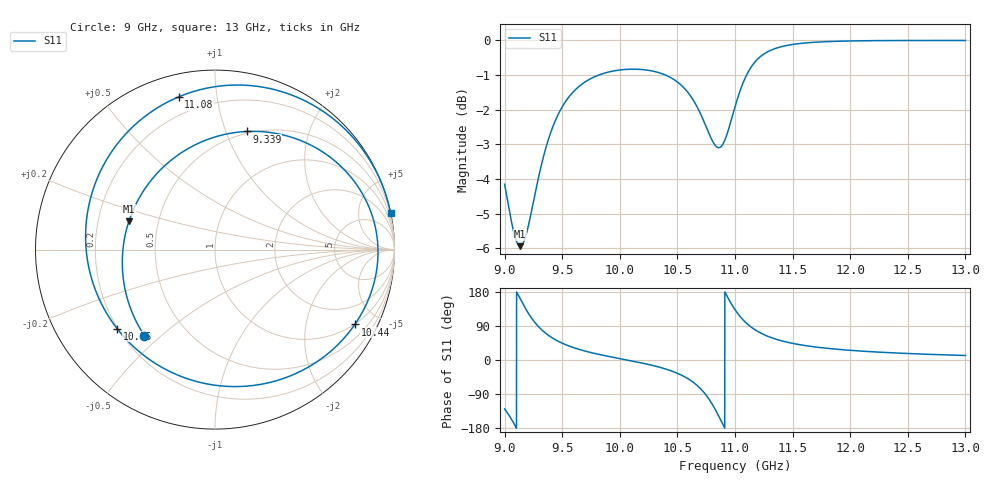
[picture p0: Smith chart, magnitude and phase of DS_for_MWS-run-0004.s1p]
! TOUCHSTONE file generated by CST DESIGN STUDIO
! Date and time: Tue Feb  4 14:07:46 2025
! Project name: C:\Work\MatlabApps\UnitCellOptimizationMatlab\CST\unitcell.cst
! Tree item: Tasks\Sweep1\SPara1\S-Parameters
! Header version: 2024
! Port assignment regex: !\s*Touchstone port\s*([0-9]+)\s*=\s*(CST MWS port|CST DES external port|CST DES block port)\s*(.+)\s* \(\"(.*)\"\)(\s*mode\s*([0-9]+))?.*
! Touchstone port assignment:
! Touchstone port 1 = CST DES external port 1 ("")
# GHz S MA R 50
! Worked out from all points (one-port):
!   4001 points, 9 GHz to 13 GHz, reference 50 ohm
!   lowest |S11| = -5.9 dB at 9.135 GHz (marker M1), VSWR 3.04, Z = 16.8 + j7.13 ohm
!   |S11| at or under -10 dB: nowhere
!   S11 on the Smith chart (normalised r, x): 9 GHz: 0.28, -0.44; 9.339 GHz: 0.48, +1.18; 10.44 GHz: 0.98, -3.75; 10.85 GHz: 0.20, -0.34; 11.08 GHz: 0.11, +0.78; 13 GHz: 0.02, +9.59
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9  0.6202 -129.3
9.074  0.5337 -163.8
9.135  0.505 161.8
9.235  0.5687 110.2
9.339  0.6814 75.0
9.5  0.8019 44.3
9.708  0.873 22.8
10  0.9062 3.7
10.252  0.905 -12.0
10.441  0.8838 -28.1
10.5  0.8709 -35.1
10.622  0.8277 -55.4
10.725  0.7674 -83.7
10.789  0.7247 -110.1
10.847  0.7011 -141.1
10.885  0.7046 -163.9
10.921  0.7246 174.3
10.958  0.7578 153.5
11  0.8018 132.8
11.078  0.8746 103.4
11.153  0.9216 84.0
11.259  0.9575 65.8
11.367  0.9754 53.8
11.5  0.9864 43.9
11.709  0.994 34.0
12  0.9978 25.5
12.5  0.9994 17.1
13  0.9995 11.9
